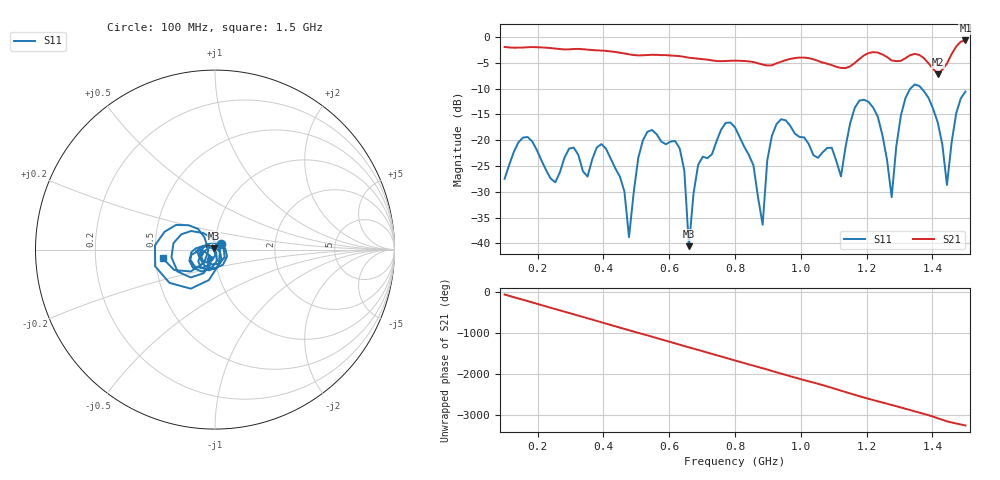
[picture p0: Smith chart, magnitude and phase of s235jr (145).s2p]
! NanoVNA-App
! Date: 2025-09-25 15:05:17
! Start: 100MHz Stop: 1,5GHz Points: 101
! S-Parameter data: F S11 S21 S12 S22
# Hz S RI R 50
!  Frequency  S11_Real  S11_Imag  S21_Real  S21_Imag  S12_Real  S12_Imag  S22_Real  S22_Imag
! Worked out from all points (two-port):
!   101 points, 100 MHz to 1.5 GHz, reference 50 ohm
!   highest |S21| = -0.69 dB at 1.5 GHz (marker M1); lowest = -7.2 dB at 1.416 GHz (marker M2)
!   |S21| within 3 dB of the highest: start of sweep to 623.9 MHz; 1.19 GHz to 1.256 GHz (66.35 MHz wide, 5.43 % of centre)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
!   lowest |S11| = -40.5 dB at 660 MHz (marker M3), VSWR 1.02, Z = 49.3 + j0.606 ohm
!   |S11| at or under -10 dB: start of sweep to 1.333 GHz; 1.367 GHz to end of sweep
!   S12 and S22 are empty: the file has one direction only
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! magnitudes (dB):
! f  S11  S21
! 100 MHz  -27.5  -2.0
! 170 MHz  -19.4  -2.0
! 338 MHz  -26.0  -2.4
! 408 MHz  -21.6  -2.7
! 478 MHz  -38.8  -3.4
! 520 MHz  -20.1  -3.6
! 576 MHz  -20.3  -3.5
! 632 MHz  -21.6  -3.7
! 660 MHz  -40.5  -4.0
! 688 MHz  -24.8  -4.2
! 800 MHz  -17.5  -4.6
! 884 MHz  -36.4  -5.4
! 926 MHz  -16.9  -5.1
! 1.038 GHz  -22.9  -4.3
! 1.122 GHz  -27.0  -6.0
! 1.164 GHz  -13.7  -5.0
! 1.206 GHz  -12.6  -3.1
! 1.276 GHz  -31.0  -4.6
! 1.332 GHz  -10.1  -3.5
! 1.416 GHz  -16.6  -7.2
! 1.444 GHz  -28.7  -5.2
! 1.5 GHz  -10.6  -0.7
